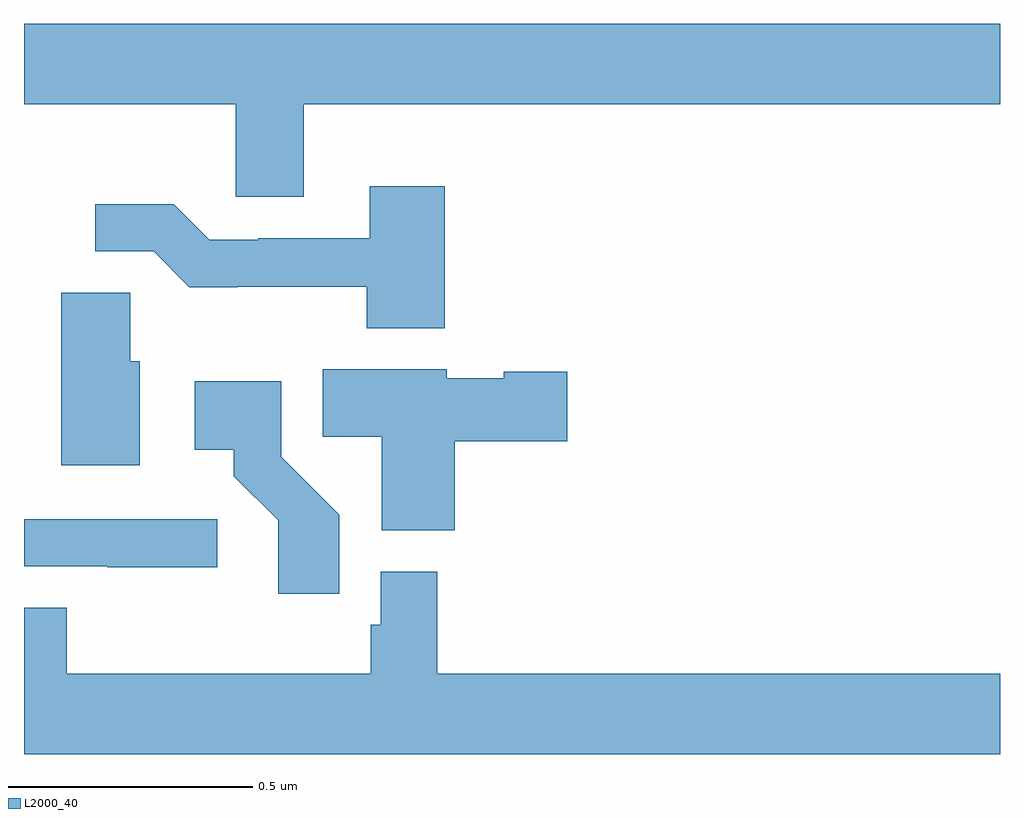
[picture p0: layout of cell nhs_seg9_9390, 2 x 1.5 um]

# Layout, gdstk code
import gdstk
lib = gdstk.Library(unit=1e-6, precision=1e-09)
def P(c, l, *ps):  # polygons
    for p in ps: c.add(gdstk.Polygon(p, *l))
L2000_40 = (2000, 40)

nhs_seg9_9390 = lib.new_cell('nhs_seg9_9390')
P(nhs_seg9_9390, L2000_40, [(229.573,1231.052),(231,1231.052),(231,1231.216),(229,1231.216),(229,1231.052),(229.434,1231.052),(229.434,1230.862),(229.573,1230.862)],
  [(229.862,1230.883),(229.709,1230.883),(229.709,1230.777),(229.48,1230.777),(229.48,1230.774),(229.38,1230.774),(229.307,1230.847),(229.146,1230.847),(229.146,1230.75),(229.266,1230.75),(229.339,1230.677),(229.438,1230.677),(229.438,1230.678),(229.702,1230.678),(229.702,1230.593),(229.862,1230.593)],
  [(229.237,1230.525),(229.218,1230.525),(229.218,1230.665),(229.076,1230.665),(229.076,1230.312),(229.237,1230.312)],
  [(229.883,1230.361),(230.113,1230.361),(230.113,1230.503),(229.983,1230.503),(229.983,1230.49),(229.866,1230.49),(229.866,1230.508),(229.612,1230.508),(229.612,1230.37),(229.733,1230.37),(229.733,1230.179),(229.883,1230.179)],
  [(229.646,1230.21),(229.527,1230.329),(229.527,1230.484),(229.35,1230.484),(229.35,1230.344),(229.43,1230.344),(229.43,1230.289),(229.521,1230.199),(229.521,1230.048),(229.646,1230.048)],
  [(229.396,1230.201),(229,1230.201),(229,1230.105),(229.171,1230.105),(229.171,1230.103),(229.396,1230.103)],
  [(231,1229.884),(229.847,1229.884),(229.847,1230.094),(229.731,1230.094),(229.731,1229.985),(229.711,1229.985),(229.711,1229.884),(229.088,1229.884),(229.088,1230.02),(229,1230.02),(229,1229.72),(231,1229.72)])

lib.write_gds('nhs_seg9_9390.gds')
